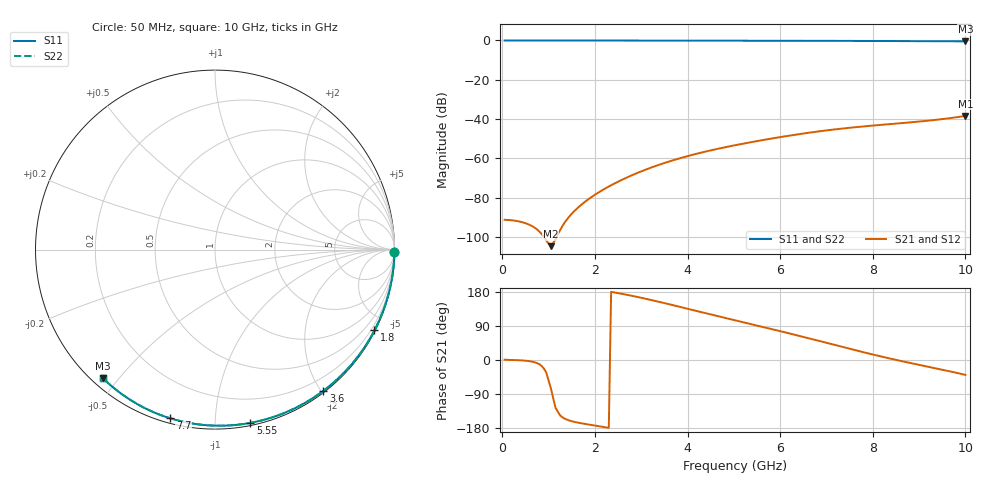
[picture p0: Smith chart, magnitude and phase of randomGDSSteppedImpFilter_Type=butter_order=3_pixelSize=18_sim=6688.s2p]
! freq	dB(S11)	phase(S11)	dB(S12)	phase(S12)
!  dB(S21)	phase(S21)	dB(S22)	phase(S22)
!S-par simulation data
#  GHz  S  DB  R 50
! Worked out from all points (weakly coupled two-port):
!   200 points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, 50 MHz to 10 GHz, reference 50 ohm
!   highest |S21| = -38.37 dB at 10 GHz (marker M1); lowest = -104.6 dB at 1.05 GHz (marker M2)
!   lowest |S11| = -0.4 dB at 10 GHz (marker M3), VSWR 39.39, Z = 1.53 - j22.7 ohm
!   |S11| at or under -10 dB: nowhere
!   |S22| runs from -0.4 to 0.0 dB; largest |S21 - S12| = 0
!   S11 on the Smith chart (normalised r, x): 50 MHz: open; 1.8 GHz: 0.04, -4.19; 3.6 GHz: 0.02, -2.03; 5.55 GHz: 0.02, -1.22; 7.7 GHz: 0.02, -0.77; 10 GHz: 0.03, -0.45
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0.05  -0.00 -0.8  -91.19 0.8  -91.19 0.8  -0.00 -0.8
0.55  -0.01 -8.3  -93.37 -2.5  -93.37 -2.5  -0.01 -8.3
1.05  -0.02 -15.8  -104.61 -75.0  -104.61 -75.0  -0.02 -15.8
1.75  -0.03 -26.1  -82.70 -167.9  -82.70 -167.9  -0.03 -26.1
1.8  -0.03 -26.9  -81.78 -169.0  -81.78 -169.0  -0.03 -26.9
1.9  -0.04 -28.3  -80.06 -171.0  -80.06 -171.0  -0.04 -28.3
2.25  -0.04 -33.4  -74.92 -178.0  -74.92 -178.0  -0.04 -33.4
2.55  -0.05 -37.7  -71.24 175.4  -71.24 175.4  -0.05 -37.7
2.95  -0.06 -43.4  -67.05 165.5  -67.05 165.5  -0.06 -43.4
3.4  -0.07 -49.8  -63.09 153.1  -63.09 153.1  -0.07 -49.8
3.6  -0.07 -52.5  -61.55 147.2  -61.55 147.2  -0.07 -52.5
3.9  -0.08 -56.7  -59.46 138.3  -59.46 138.3  -0.08 -56.7
4.25  -0.09 -61.4  -57.30 127.8  -57.30 127.8  -0.09 -61.4
5.05  -0.11 -72.0  -53.16 104.1  -53.16 104.1  -0.11 -72.0
5.55  -0.13 -78.5  -50.96 89.5  -50.96 89.5  -0.13 -78.5
6.1  -0.15 -85.4  -48.76 73.2  -48.76 73.2  -0.15 -85.4
6.7  -0.18 -92.8  -46.66 54.8  -46.66 54.8  -0.18 -92.8
7.2  -0.21 -98.9  -45.17 39.0  -45.17 39.0  -0.21 -98.9
7.7  -0.24 -104.8  -43.93 23.5  -43.93 23.5  -0.24 -104.8
8.35  -0.29 -112.4  -42.58 4.5  -42.58 4.5  -0.29 -112.4
9.3  -0.37 -123.2  -40.53 -20.5  -40.53 -20.5  -0.37 -123.2
10  -0.44 -131.1  -38.37 -39.3  -38.37 -39.3  -0.44 -131.1
